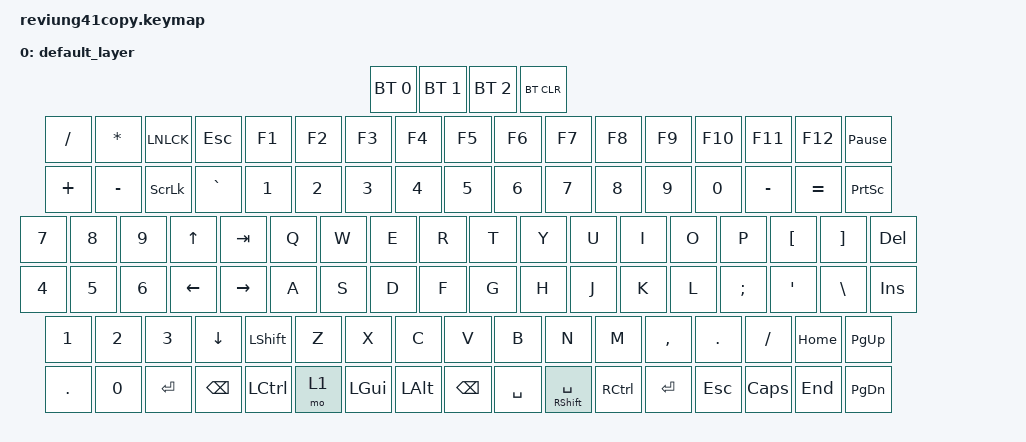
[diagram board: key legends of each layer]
/*
 * Copyright (c) 2020 The ZMK Contributors
 *
 * SPDX-License-Identifier: MIT
 */

#include <behaviors.dtsi>
#include <dt-bindings/zmk/keys.h>
#include <dt-bindings/zmk/bt.h>

#define DEFAULT 

/ {
        keymap {
                compatible = "zmk,keymap";

                default_layer {
// ------------------------------------------------------------------------------------------------------------------------
// |BT1 |   BT2   |       BT3   |      BT CLEAR    |
// |SLASH| ASTRK| NLCK| ESC | F1 | F2 | F3 | F4 | F5 | F6 | F7 | F8 | F9 | F10 | F11 | F12 | PAUS |
// |PLUS|MINUS| SLCK | ~ |  N1 | N2 | N3 | N4 | N5 | N6 | N7 | N8 | N9 | N0 | MINUS | EQUAL | PRTSCN |
// |  7  |  8  |  9  |  UP  |  TAB |  Q  |  W  |  E  |  R  |  T  | Y  |  U   |  I  |  O  |  P  |  [  |  ]  |  DEL   |
// |  4  |  5  |  6  | LFT | RGT |  A  |  S  |  D  |  F  |  G  |   |  H  |  J   |  K  |  L  |  ;  | ' | \  | INS |
// |  1  |  2  |  3  | DWN | SHFT |  Z  |  X  |  C  |  V  |  B  |   |  N  |  M   |  ,  |  .  |  /  | HOME| PGUP|
// |  .  |  0  | ENT | BKSP| CTRL | MO | LGUI | ALT | BKSP | SPC | MOD SHFT/SPACE | RCTRL | ENT | ESC | CAPS |END | PGDN|
                        bindings = <
   &bt BT_SEL 0   &bt BT_SEL 1   &bt BT_SEL 2   &bt BT_CLR
   &kp FSLH &kp ASTERISK &kp LNLCK &kp ESC   &kp F1 &kp F2 &kp F3 &kp F4 &kp F5 &kp F6 &kp F7 &kp F8 &kp F9 &kp F10 &kp F11   &kp F12   &kp PAUSE_BREAK
   &kp PLUS &kp MINUS &kp SLCK &kp GRAVE &kp N1 &kp N2 &kp N3 &kp N4 &kp N5 &kp N6 &kp N7 &kp N8 &kp N9 &kp N0  &kp MINUS &kp EQUAL &kp PRINTSCREEN
   &kp N7 &kp N8 &kp N9 &kp UP &kp TAB &kp Q &kp W &kp E &kp R &kp T &kp Y &kp U  &kp I &kp O &kp P &kp LBKT &kp RBKT &kp DEL
   &kp N4 &kp N5 &kp N6 &kp LEFT &kp RIGHT &kp A &kp S &kp D &kp F &kp G &kp H &kp J &kp K &kp L &kp SEMI &kp SQT &kp BSLH &kp INS
   &kp N1 &kp N2 &kp N3 &kp DOWN &kp LSHFT &kp Z &kp X &kp C &kp V &kp B &kp N &kp M  &kp COMMA &kp DOT &kp FSLH &kp HOME &kp PG_UP 
   &kp DOT &kp N0 &kp ENTER &kp BSPC &kp LCTRL &mo 1 &kp LGUI &kp LALT &kp BSPC &kp SPACE &mt RSHFT SPACE &kp RCTRL &kp ENTER &kp ESC &kp CLCK &kp END &kp PG_DN
                        >;
                };

        };
};
